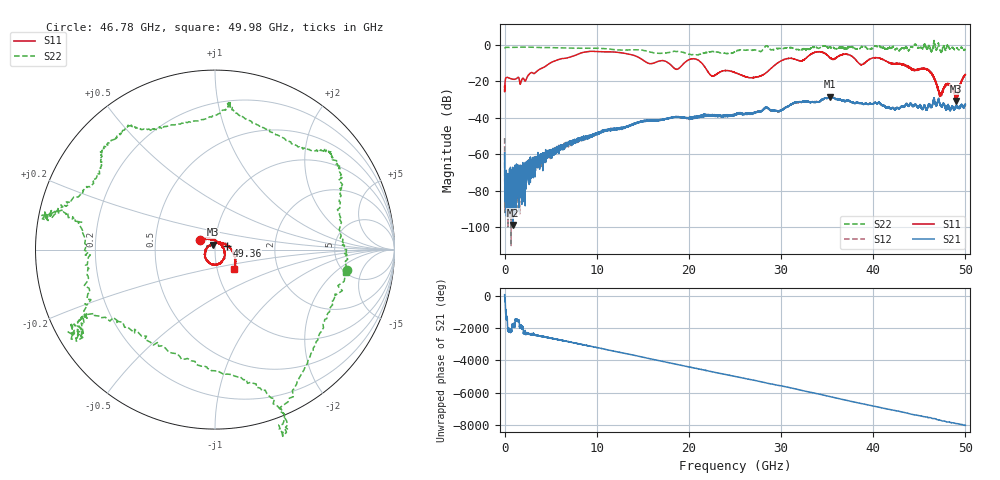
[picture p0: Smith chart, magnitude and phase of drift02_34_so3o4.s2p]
!Created with skrf (http://scikit-rf.org).
# Hz S RI R 50.0
!freq ReS11 ImS11 ReS21 ImS21 ReS12 ImS12 ReS22 ImS22
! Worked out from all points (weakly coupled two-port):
!   10001 points, 300 kHz to 50 GHz, reference 50 ohm
!   highest |S21| = -28.40 dB at 35.32 GHz (marker M1); lowest = -98.7 dB at 900.3 MHz (marker M2)
!   lowest |S11| = -30.8 dB at 49.02 GHz (marker M3), VSWR 1.06, Z = 48.9 + j2.61 ohm
!   |S11| at or under -10 dB: start of sweep to 4.956 GHz; 21.38 GHz to 29.63 GHz (8.252 GHz wide, 32.4 % of centre); 41.89 GHz to end of sweep (the widest 3 of 11)
!   |S22| runs from -5.7 to 2.3 dB; largest |S21 - S12| = 0.0037
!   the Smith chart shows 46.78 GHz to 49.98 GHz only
!   S11 on the Smith chart (normalised r, x): 46.78 GHz: 0.84, +0.10; 49.36 GHz: 1.14, +0.05; 49.98 GHz: 1.20, -0.27
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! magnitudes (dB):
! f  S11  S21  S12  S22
! 300 kHz  -22.6  -59.1  -51.1  -2.1
! 260.3 MHz  -17.9  -73.5  -75.0  -1.4
! 900.3 MHz  -18.9  -98.7  -68.0  -1.5
! 8.335 GHz  -4.5  -51.5  -51.9  -1.9
! 16.67 GHz  -9.1  -41.3  -41.4  -4.7
! 18.7 GHz  -13.5  -39.5  -39.5  -3.7
! 20.6 GHz  -7.7  -40.0  -39.5  -5.7
! 22.51 GHz  -17.1  -38.7  -38.4  -3.7
! 25 GHz  -15.3  -38.3  -38.4  -3.9
! 27.47 GHz  -17.6  -36.9  -36.6  -3.2
! 30.22 GHz  -8.3  -35.5  -35.2  -2.1
! 33.34 GHz  -4.9  -31.3  -31.3  -1.6
! 35.32 GHz  -7.1  -28.4  -28.7  -1.3
! 41.67 GHz  -9.7  -34.1  -34.1  -1.9
! 45.78 GHz  -13.2  -35.9  -35.5  -2.0
! 46.78 GHz  -20.0  -33.2  -32.9  -2.6
! 47.27 GHz  -27.0  -32.7  -32.6  -3.3
! 48.14 GHz  -21.9  -32.6  -33.0  -0.8
! 49.02 GHz  -30.8  -34.1  -34.2  -2.0
! 49.36 GHz  -23.2  -34.3  -34.4  -2.7
! 49.98 GHz  -16.3  -33.0  -32.8  -2.6
! 50 GHz  -16.4  -33.0  -32.5  -2.6
